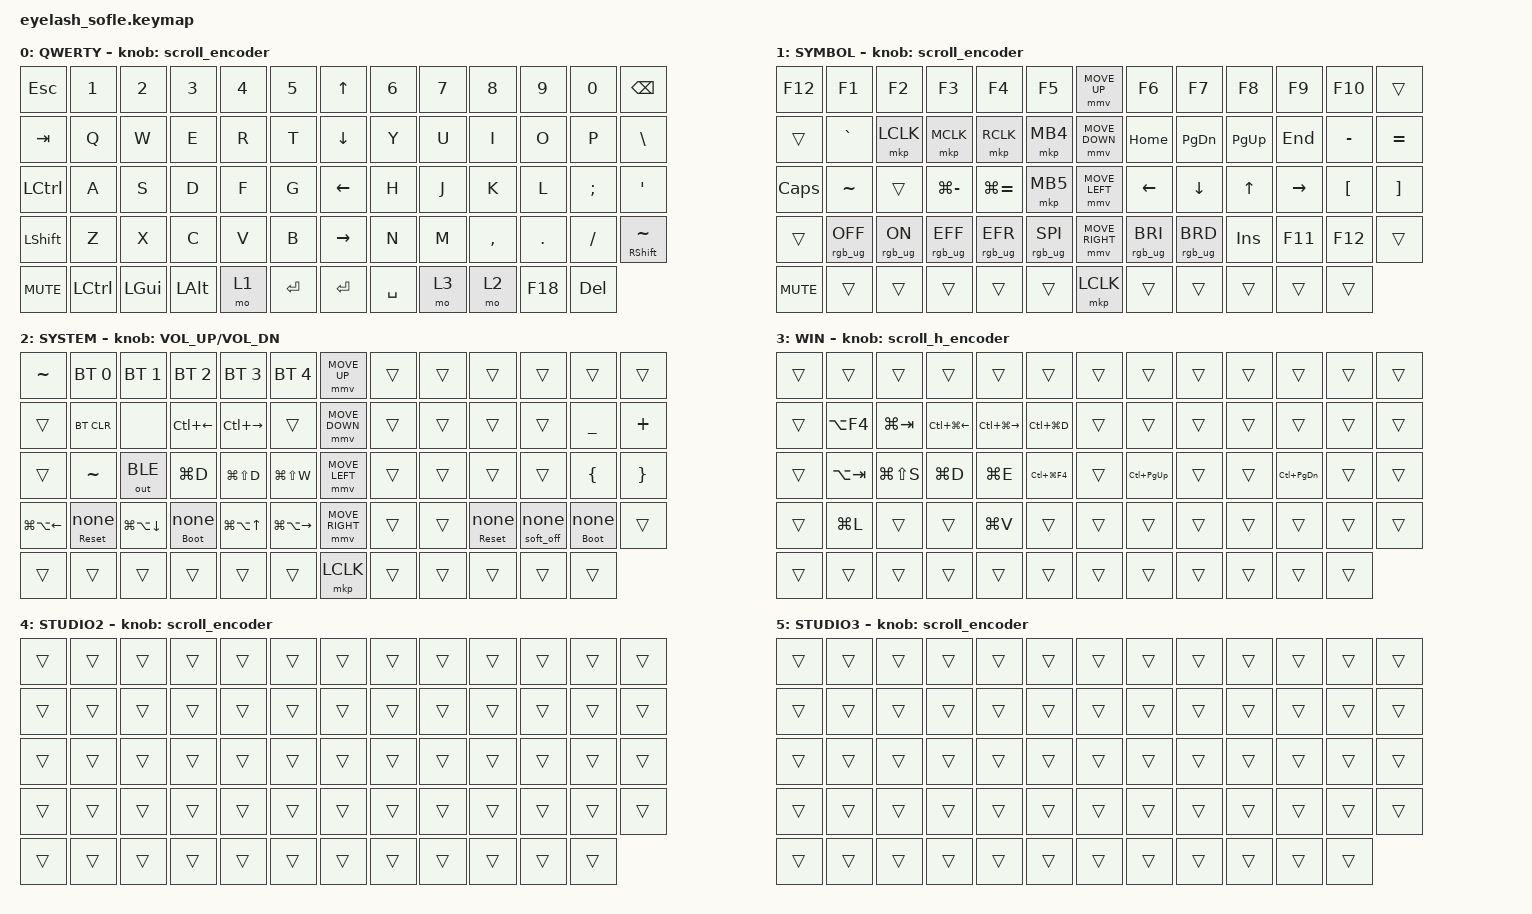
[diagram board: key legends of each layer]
#define ZMK_POINTING_DEFAULT_MOVE_VAL 1200
#define ZMK_POINTING_DEFAULT_SCRL_VAL 25

#include <input/processors.dtsi>
#include <zephyr/dt-bindings/input/input-event-codes.h>
#include <behaviors.dtsi>
#include <dt-bindings/zmk/bt.h>
#include <dt-bindings/zmk/keys.h>
#include <dt-bindings/zmk/outputs.h>
#include <dt-bindings/zmk/pointing.h>
#include <dt-bindings/zmk/rgb.h>

&mmv_input_listener { input-processors = <&zip_xy_scaler 2 1>; };
&msc_input_listener { input-processors = <&zip_scroll_scaler 3 1>; };

&msc {
    acceleration-exponent = <1>;
    time-to-max-speed-ms = <100>;
    delay-ms = <0>;
};

/ {
    // 롤러(인코더) 동작 정의: 마우스 세로 스크롤
    scroll_encoder: scroll_encoder {
        compatible = "zmk,behavior-sensor-rotate";
        #sensor-binding-cells = <0>;
        bindings = <&msc SCRL_DOWN>, <&msc SCRL_UP>;
        tap-ms = <100>;
    };

    // 롤러 가로 스크롤: 세로 스크롤과 같은 방향감 (아래로 굴림 = 오른쪽)
    scroll_h_encoder: scroll_h_encoder {
        compatible = "zmk,behavior-sensor-rotate";
        #sensor-binding-cells = <0>;
        bindings = <&msc SCRL_RIGHT>, <&msc SCRL_LEFT>;
        tap-ms = <100>;
    };

    // SYSTEM 레이어 파괴 키 홀드 가드: 1.5초 이상 길게 눌러야 발동, 짧은 탭 = 무동작
    // (레이어 latch 상태에서 오타로 bootloader/reset/off 진입하는 사고 방지 — 2026-07-12)
    boot_hold: boot_hold {
        compatible = "zmk,behavior-hold-tap";
        #binding-cells = <2>;
        tapping-term-ms = <1500>;
        bindings = <&bootloader>, <&none>;
    };

    rst_hold: rst_hold {
        compatible = "zmk,behavior-hold-tap";
        #binding-cells = <2>;
        tapping-term-ms = <1500>;
        bindings = <&sys_reset>, <&none>;
    };

    off_hold: off_hold {
        compatible = "zmk,behavior-hold-tap";
        #binding-cells = <2>;
        tapping-term-ms = <1500>;
        bindings = <&soft_off>, <&none>;
    };

    combos {
        compatible = "zmk,combos";
        softoff {
            bindings = <&soft_off>;
            key-positions = <14 28 40>;
        };
    };

    keymap {
        compatible = "zmk,keymap";

        // Layer 0: QWERTY 메인 배열 (중앙 컬럼 ↑↓←→ = 오른쪽 조이스틱)
        layer0 {
            display-name = "QWERTY";
            bindings = <
&kp ESC     &kp N1     &kp N2     &kp N3      &kp N4     &kp N5    &kp UP      &kp N6     &kp N7     &kp N8     &kp N9     &kp N0      &kp BSPC
&kp TAB     &kp Q      &kp W      &kp E       &kp R      &kp T     &kp DOWN    &kp Y      &kp U      &kp I      &kp O      &kp P       &kp BSLH
&kp LCTRL   &kp A      &kp S      &kp D       &kp F      &kp G     &kp LEFT    &kp H      &kp J      &kp K      &kp L      &kp SEMI    &kp SQT
&kp LSHFT   &kp Z      &kp X      &kp C       &kp V      &kp B     &kp RIGHT   &kp N      &kp M      &kp COMMA  &kp DOT    &kp FSLH    &mt RSHFT TILDE
&kp C_MUTE  &kp LCTRL  &kp LGUI   &kp LALT    &mo 1      &kp ENTER &kp ENTER   &kp SPACE  &mo 3      &mo 2      &kp F18    &kp DEL
            >;
            // Layer 0 롤러: 마우스 스크롤 (기본) — 볼륨은 SYSTEM 홀드로 이동
            sensor-bindings = <&scroll_encoder>;
        };

        // Layer 1: Symbol & Mouse (개발용 기호 배치) — D/F = 축소/확대(⌘-/⌘=)
        layer1 {
            display-name = "SYMBOL";
            bindings = <
&kp F12     &kp F1     &kp F2     &kp F3      &kp F4     &kp F5    &mmv MOVE_UP    &kp F6     &kp F7     &kp F8     &kp F9     &kp F10     &trans
&trans      &kp GRAVE  &mkp LCLK  &mkp MCLK   &mkp RCLK  &mkp MB4  &mmv MOVE_DOWN  &kp HOME   &kp PG_DN  &kp PG_UP  &kp END    &kp MINUS   &kp EQUAL
&kp CAPS    &kp TILDE  &trans     &kp LG(MINUS) &kp LG(EQUAL) &mkp MB5  &mmv MOVE_LEFT  &kp LEFT   &kp DOWN   &kp UP     &kp RIGHT  &kp LBKT    &kp RBKT
&trans      &rgb_ug RGB_OFF &rgb_ug RGB_ON &rgb_ug RGB_EFF &rgb_ug RGB_EFR &rgb_ug RGB_SPI &mmv MOVE_RIGHT &rgb_ug RGB_BRI &rgb_ug RGB_BRD &kp INSERT &kp F11 &kp F12 &trans
&kp C_MUTE  &trans     &trans     &trans      &trans     &trans    &mkp LCLK       &trans     &trans     &trans     &trans     &trans
            >;
            // Layer 1 롤러: 해제 (기본과 동일한 세로 스크롤 — 가로는 WIN 홀드로 이동)
            sensor-bindings = <&scroll_encoder>;
        };

        // Layer 2: System & Bluetooth — 파괴 키는 1.5초 홀드 필요(Z·,=reset, C·/=bootloader, .=soft_off), BT_CLR_ALL 제거
        layer2 {
            display-name = "SYSTEM";
            bindings = <
&kp TILDE  &bt BT_SEL 0  &bt BT_SEL 1  &bt BT_SEL 2  &bt BT_SEL 3  &bt BT_SEL 4    &mmv MOVE_UP     &trans  &trans  &trans  &trans  &trans  &trans
&trans     &bt BT_CLR    &none          &kp LC(LEFT) &kp LC(RIGHT) &trans          &mmv MOVE_DOWN   &trans  &trans  &trans  &trans  &kp UNDER &kp PLUS
&trans     &kp TILDE     &out OUT_BLE  &kp LG(D)     &kp LG(LS(D)) &kp LG(LS(W))   &mmv MOVE_LEFT   &trans  &trans  &trans  &trans  &kp LBRC  &kp RBRC
&kp LG(LA(LEFT)) &rst_hold 0 0 &kp LG(LA(DOWN)) &boot_hold 0 0 &kp LG(LA(UP)) &kp LG(LA(RIGHT)) &mmv MOVE_RIGHT  &trans  &trans  &rst_hold 0 0 &off_hold 0 0 &boot_hold 0 0 &trans
&trans     &trans        &trans        &trans        &trans        &trans          &mkp LCLK        &trans  &trans  &trans  &trans  &trans
            >;
            // Layer 2 롤러: 볼륨 조절 (기본 롤러가 스크롤로 바뀌면서 이동)
            sensor-bindings = <&inc_dec_kp C_VOL_UP C_VOL_DN>;
        };

        // Layer 3: WIN — 윈도우 머신(BT 슬롯2) 단축키. 오른엄지 &mo 3 홀드 → 왼손 자리 배치
        //   (구 오른엄지 ENTER 자리 — 스페이스 착각 조기전송 사고 무해화 겸용)
        //   윗줄 = 가상 데스크톱(W/E/R/T·G), 홈행 = 앱전환·캡처·바탕화면·탐색기, Z=잠금 V=클립보드
        //   오른손 H/L = 이전/다음 탭 (Ctrl+PgUp/PgDn, vim 방향감 — 맥·윈도우 공통)
        layer3 {
            display-name = "WIN";
            bindings = <
&trans  &trans        &trans       &trans            &trans             &trans           &trans  &trans  &trans  &trans  &trans  &trans  &trans
&trans  &kp LA(F4)    &kp LG(TAB)  &kp LC(LG(LEFT))  &kp LC(LG(RIGHT))  &kp LC(LG(D))    &trans  &trans  &trans  &trans  &trans  &trans  &trans
&trans  &kp LA(TAB)   &kp LG(LS(S)) &kp LG(D)        &kp LG(E)          &kp LC(LG(F4))   &trans  &kp LC(PG_UP)  &trans  &trans  &kp LC(PG_DN)  &trans  &trans
&trans  &kp LG(L)     &trans       &trans            &kp LG(V)          &trans           &trans  &trans  &trans  &trans  &trans  &trans  &trans
&trans  &trans        &trans       &trans            &trans             &trans           &trans  &trans  &trans  &trans  &trans  &trans
            >;
            // Layer 3 롤러: 가로 스크롤 (오른엄지 홀드+왼손 롤러 = 양손 자세)
            sensor-bindings = <&scroll_h_encoder>;
        };

        // Layer 4: ZMK Studio 확장용 2
        layer4 {
            display-name = "STUDIO2";
            bindings = <
&trans  &trans  &trans  &trans  &trans  &trans    &trans  &trans  &trans  &trans  &trans  &trans  &trans
&trans  &trans  &trans  &trans  &trans  &trans    &trans  &trans  &trans  &trans  &trans  &trans  &trans
&trans  &trans  &trans  &trans  &trans  &trans    &trans  &trans  &trans  &trans  &trans  &trans  &trans
&trans  &trans  &trans  &trans  &trans  &trans    &trans  &trans  &trans  &trans  &trans  &trans  &trans
&trans  &trans  &trans  &trans  &trans  &trans    &trans  &trans  &trans  &trans  &trans  &trans
            >;
            sensor-bindings = <&scroll_encoder>;
        };

        // Layer 5: ZMK Studio 확장용 3
        layer5 {
            display-name = "STUDIO3";
            bindings = <
&trans  &trans  &trans  &trans  &trans  &trans    &trans  &trans  &trans  &trans  &trans  &trans  &trans
&trans  &trans  &trans  &trans  &trans  &trans    &trans  &trans  &trans  &trans  &trans  &trans  &trans
&trans  &trans  &trans  &trans  &trans  &trans    &trans  &trans  &trans  &trans  &trans  &trans  &trans
&trans  &trans  &trans  &trans  &trans  &trans    &trans  &trans  &trans  &trans  &trans  &trans  &trans
&trans  &trans  &trans  &trans  &trans  &trans    &trans  &trans  &trans  &trans  &trans  &trans
            >;
            sensor-bindings = <&scroll_encoder>;
        };
    };
};
